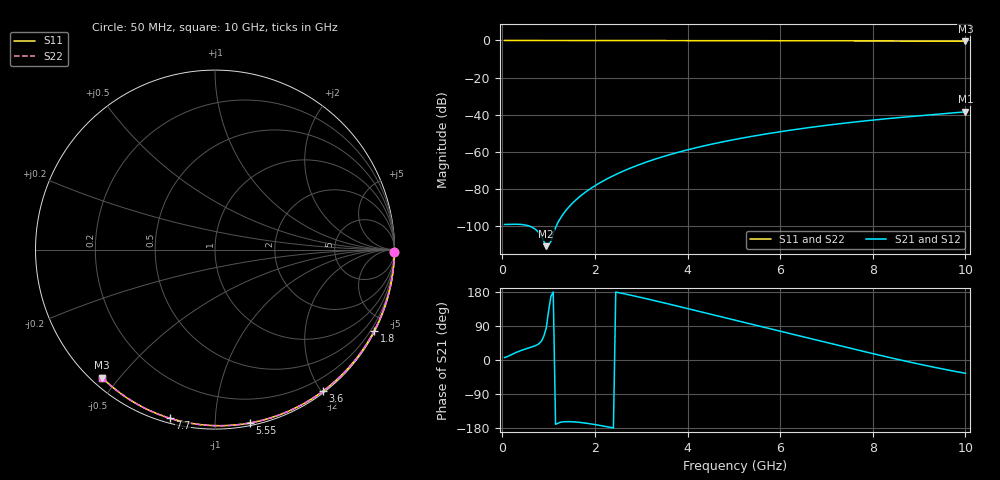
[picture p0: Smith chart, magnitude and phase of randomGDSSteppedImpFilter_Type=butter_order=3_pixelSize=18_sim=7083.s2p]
! freq	dB(S11)	phase(S11)	dB(S12)	phase(S12)
!  dB(S21)	phase(S21)	dB(S22)	phase(S22)
!S-par simulation data
#  GHz  S  DB  R 50
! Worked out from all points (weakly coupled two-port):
!   200 points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, 50 MHz to 10 GHz, reference 50 ohm
!   highest |S21| = -38.38 dB at 10 GHz (marker M1); lowest = -110.6 dB at 950 MHz (marker M2)
!   lowest |S11| = -0.4 dB at 10 GHz (marker M3), VSWR 39.90, Z = 1.51 - j22.6 ohm
!   |S11| at or under -10 dB: nowhere
!   |S22| runs from -0.4 to 0.0 dB; largest |S21 - S12| = 0
!   S11 on the Smith chart (normalised r, x): 50 MHz: open; 1.8 GHz: 0.04, -4.18; 3.6 GHz: 0.02, -2.02; 5.55 GHz: 0.02, -1.22; 7.7 GHz: 0.02, -0.77; 10 GHz: 0.03, -0.45
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0.05  -0.00 -0.8  -98.95 6.6  -98.95 6.6  -0.00 -0.8
0.5  -0.01 -7.6  -99.26 29.1  -99.26 29.1  -0.01 -7.6
0.95  -0.02 -14.3  -110.63 85.0  -110.63 85.0  -0.02 -14.3
1.75  -0.03 -26.2  -82.43 -165.8  -82.43 -165.8  -0.03 -26.2
1.8  -0.03 -26.9  -81.50 -166.6  -81.50 -166.6  -0.03 -26.9
1.9  -0.04 -28.4  -79.76 -168.4  -79.76 -168.4  -0.04 -28.4
2.05  -0.04 -30.6  -77.38 -171.3  -77.38 -171.3  -0.04 -30.6
2.25  -0.04 -33.5  -74.58 -175.8  -74.58 -175.8  -0.04 -33.5
2.65  -0.05 -39.3  -69.84 174.3  -69.84 174.3  -0.05 -39.3
3  -0.06 -44.2  -66.40 164.8  -66.40 164.8  -0.06 -44.2
3.4  -0.07 -49.9  -63.02 153.5  -63.02 153.5  -0.07 -49.9
3.6  -0.07 -52.7  -61.52 147.6  -61.52 147.6  -0.07 -52.7
3.9  -0.08 -56.8  -59.45 138.7  -59.45 138.7  -0.08 -56.8
4.3  -0.09 -62.2  -57.00 126.8  -57.00 126.8  -0.09 -62.2
5.05  -0.11 -72.2  -53.10 104.3  -53.10 104.3  -0.11 -72.2
5.55  -0.13 -78.7  -50.88 89.4  -50.88 89.4  -0.13 -78.7
6.1  -0.15 -85.6  -48.71 73.1  -48.71 73.1  -0.15 -85.6
6.7  -0.18 -93.0  -46.60 55.2  -46.60 55.2  -0.18 -93.0
7.7  -0.24 -105.0  -43.61 25.6  -43.61 25.6  -0.24 -105.0
8.35  -0.29 -112.6  -41.98 6.9  -41.98 6.9  -0.29 -112.6
9.15  -0.36 -121.8  -40.21 -14.7  -40.21 -14.7  -0.36 -121.8
10  -0.44 -131.4  -38.38 -35.0  -38.38 -35.0  -0.44 -131.4
